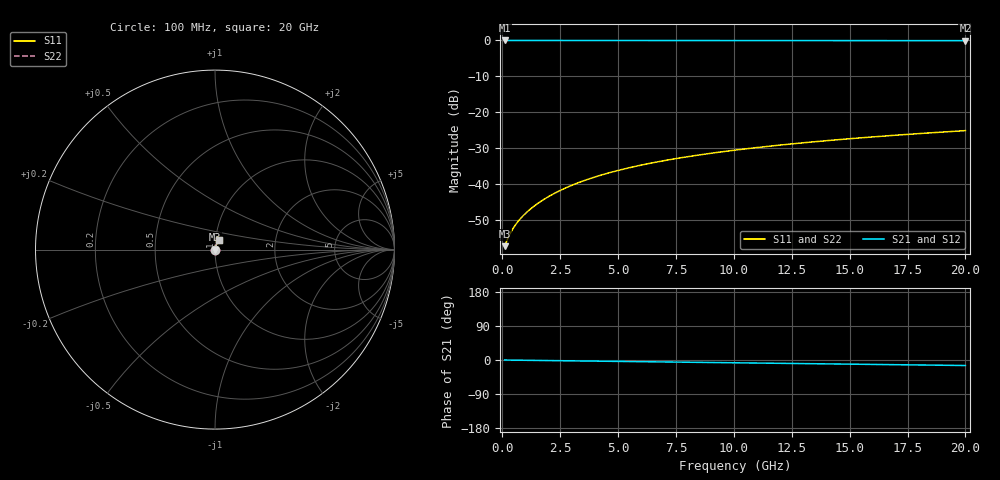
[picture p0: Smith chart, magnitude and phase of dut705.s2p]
! Touchstone file exported from HFSS 2026.1.0
!  File:  C:/ffzhzh/LocalFiles/Ansys_Project_Files/temp_train_TMRDL_705_1783154518_51560.aedt
!  Generated:  04:43:09 PM Jul  4, 2026
!  Design:  TMRDL
!  Project:  temp_train_TMRDL_705_1783154518_51560
! Variables:
!  h_bsmrdl = 2um
!  h_ox = 20um
!  h_rdl = 5um
!  h_sub = 80um
!  h_tmrdl = 2.97um
!  h_tsv = 80um
!  h_via = 3um
!  l_bsmrdl = 300um
!  l_sub = 631.61um
!  l_tmrdl = 231.61um
!  m_sub = 200um
!  pitch = 36.83um
!  r_tsv = 6um
!  s_tmrdl = 10um
!  w_bsmrdl = 18um
!  w_sub = 500um
!  w_tmrdl = 29.16um
!  x_tsv_center1 = 246.19um
!  x_tsv_center2 = 564.19um
!  x_tsv_center3 = 824.96um
!  x_tsv_center4 = 1142.96um
!  x_tsv_center5 = 1403.73um
!  x_tsv_center6 = 1721.73um
# GHz S MA R 50.000000
! Terminal data exported
! Port[1] = TM_RDL1_1_T1
! Port[2] = TM_RDL1_1_T2
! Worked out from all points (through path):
!   200 points, 100 MHz to 20 GHz, reference 50 ohm
!   highest |S21| = -0.01 dB at 100 MHz (marker M1); lowest = -0.1 dB at 20 GHz (marker M2)
!   group delay of S21, straight-line fit = 2.02 ps
!   lowest |S11| = -57.3 dB at 100 MHz (marker M3), VSWR 1.00, Z = 50.1 + j0.0491 ohm
!   |S11| at or under -10 dB: start of sweep to end of sweep
!   |S22| runs from -57.3 to -25.1 dB; largest |S21 - S12| = 4.6e-15
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0.1  0.00137 20.9  0.9987 -0.1  0.9987 -0.1  0.00137 20.9
! Gamma 0 0 0 0
! Port Impedance 50 0 50 0
0.2  0.00165 32.8  0.9986 -0.2  0.9986 -0.2  0.001653 32.8
0.3  0.00194 40.1  0.9985 -0.2  0.9985 -0.2  0.001945 40.0
0.5  0.002517 49.1  0.9983 -0.4  0.9983 -0.4  0.002518 49.0
0.6  0.002801 52.2  0.9982 -0.5  0.9982 -0.5  0.0028 52.1
0.8  0.003357 56.9  0.9981 -0.6  0.9981 -0.6  0.003355 56.8
1  0.003907 60.4  0.998 -0.8  0.998 -0.8  0.003905 60.4
1.2  0.004459 63.2  0.998 -0.9  0.998 -0.9  0.004457 63.2
1.7  0.00586 68.1  0.9979 -1.3  0.9979 -1.3  0.005859 68.1
2.2  0.007295 71.1  0.9978 -1.6  0.9978 -1.6  0.007295 71.1
2.8  0.009045 73.4  0.9977 -2.1  0.9977 -2.1  0.009045 73.4
3.5  0.0111 74.9  0.9975 -2.6  0.9975 -2.6  0.0111 74.9
4.2  0.01316 75.7  0.9974 -3.1  0.9974 -3.1  0.01316 75.7
5  0.0155 76.1  0.9971 -3.7  0.9971 -3.7  0.0155 76.1
5.9  0.01811 76.2  0.9969 -4.4  0.9969 -4.4  0.01811 76.2
6.8  0.02069 76.0  0.9966 -5.0  0.9966 -5.0  0.02069 76.0
8.3  0.02492 75.5  0.9961 -6.1  0.9961 -6.1  0.02492 75.5
10.1  0.02987 74.6  0.9954 -7.4  0.9954 -7.4  0.02987 74.6
11.7  0.03418 73.8  0.9949 -8.6  0.9949 -8.6  0.03418 73.8
13.4  0.03868 72.8  0.9943 -9.8  0.9943 -9.8  0.03868 72.8
16.7  0.04722 70.9  0.9932 -12.2  0.9932 -12.2  0.04722 70.9
20  0.05554 69.0  0.9922 -14.6  0.9922 -14.6  0.05555 68.9
